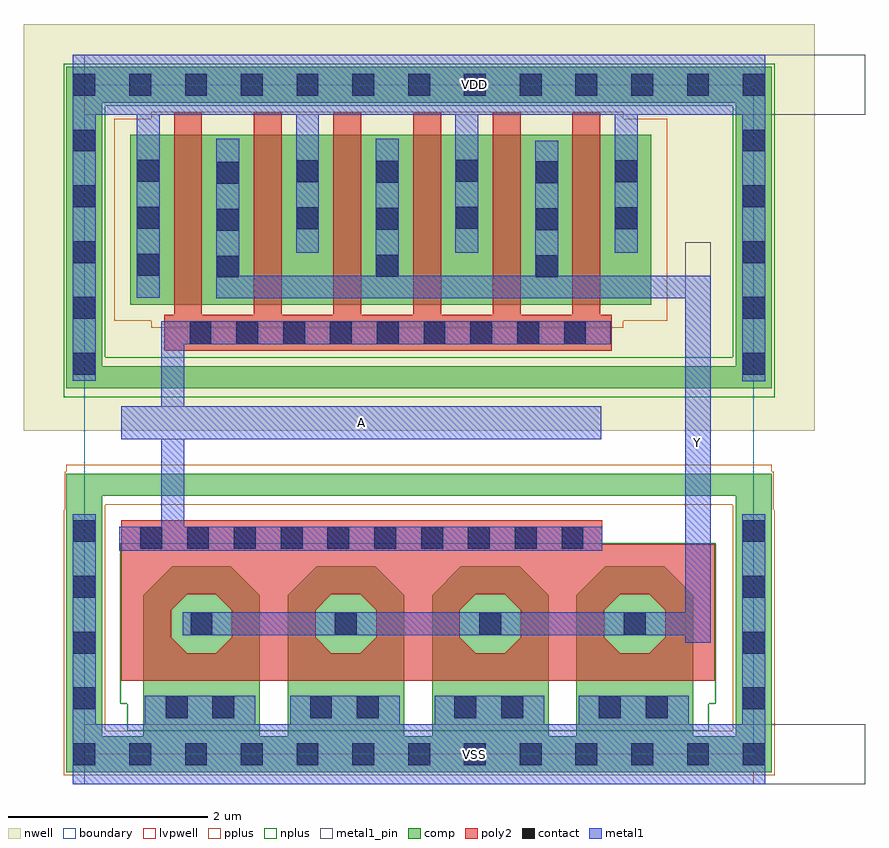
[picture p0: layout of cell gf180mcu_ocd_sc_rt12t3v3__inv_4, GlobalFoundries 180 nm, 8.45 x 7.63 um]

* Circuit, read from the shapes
.subckt gf180mcu_ocd_sc_rt12t3v3__inv_4 A VDD VSS Y
XM1 Y A VSS VSS nfet_03v3 w=1.785u l=0.5386u
XM2 Y A VSS VSS nfet_03v3 w=1.785u l=0.5361u
XM3 Y A VSS VSS nfet_03v3 w=1.785u l=0.5376u
XM4 Y A VSS VSS nfet_03v3 w=1.785u l=0.5326u
XM5 Y A VDD VDD pfet_03v3 w=1.71u l=0.28u m=6
.ends

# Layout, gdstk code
import gdstk
lib = gdstk.Library(unit=1e-6, precision=1e-09)
def R(c, l, rs):  # rectangles x0, y0, x1, y1
    for r in rs: c.add(gdstk.rectangle(r[:2], r[2:], *l))
def A(c, l, x, y, w, h, nx, ny, dx, dy):  # array of equal rectangles
    R(c, l, [(x+i*dx, y+j*dy, x+i*dx+w, y+j*dy+h) for i in range(nx) for j in range(ny)])
def P(c, l, *ps):  # polygons
    for p in ps: c.add(gdstk.Polygon(p, *l))
boundary = (0, 0)
nwell = (21, 0)
comp = (22, 0)
poly2 = (30, 0)
pplus = (31, 0)
nplus = (32, 0)
contact = (33, 0)
metal1 = (34, 0)
metal1_pin = (34, 10)
lvpwell = (204, 0)

gf180mcu_ocd_sc_rt12t3v3 = lib.new_cell('gf180mcu_ocd_sc_rt12t3v3__inv_4')
R(gf180mcu_ocd_sc_rt12t3v3, boundary, [(0,0,6.72,6.72)])
R(gf180mcu_ocd_sc_rt12t3v3, nwell, [(-0.61,3.245,7.33,7.33)])
A(gf180mcu_ocd_sc_rt12t3v3, comp, 0.59, 0.18, 1.17, 1.415, 4, 1, 1.45, 0)
A(gf180mcu_ocd_sc_rt12t3v3, comp, 0.88, 1.595, 0.59, 0.29, 4, 1, 1.45, 0)
R(gf180mcu_ocd_sc_rt12t3v3, comp, [(-0.18,-0.18,6.9,0.18), (-0.18,0.18,0.18,2.595), (6.54,0.18,6.9,2.595), (-0.18,2.595,6.9,2.815), (-0.18,3.675,6.9,3.895), (-0.18,3.895,0.18,6.54), (6.54,3.895,6.9,6.54), (0.46,4.51,5.69,6.22), (-0.18,6.54,6.9,6.9)])
P(gf180mcu_ocd_sc_rt12t3v3, comp, [(0.59,1.595),(0.88,1.595),(0.88,1.885)],
  [(1.47,1.885),(1.47,1.595),(1.76,1.595)],
  [(2.04,1.595),(2.33,1.595),(2.33,1.885)],
  [(2.92,1.885),(2.92,1.595),(3.21,1.595)],
  [(3.49,1.595),(3.78,1.595),(3.78,1.885)],
  [(4.37,1.885),(4.37,1.595),(4.66,1.595)],
  [(4.94,1.595),(5.23,1.595),(5.23,1.885)],
  [(5.82,1.885),(5.82,1.595),(6.11,1.595)])
A(gf180mcu_ocd_sc_rt12t3v3, poly2, 1.48, 1.015, 0.84, 0.58, 3, 1, 1.45, 0)
A(gf180mcu_ocd_sc_rt12t3v3, poly2, 1.33, 1.595, 1.14, 0.01, 3, 1, 1.45, 0)
A(gf180mcu_ocd_sc_rt12t3v3, poly2, 0.9, 4.41, 0.28, 2.03, 6, 1, 0.8, 0)
R(gf180mcu_ocd_sc_rt12t3v3, poly2, [(0.37,0.735,6.33,1.015), (0.37,1.015,0.87,1.595), (5.83,1.015,6.33,1.595), (0.37,1.595,1.02,1.605), (5.68,1.595,6.33,1.605), (0.37,1.605,6.33,2.105), (0.37,2.105,5.2,2.35), (0.8,4.05,5.295,4.41)])
P(gf180mcu_ocd_sc_rt12t3v3, poly2, [(1.02,1.595),(1.02,1.605),(1.03,1.605)],
  [(1.32,1.605),(1.33,1.605),(1.33,1.595)],
  [(2.47,1.595),(2.47,1.605),(2.48,1.605)],
  [(2.77,1.605),(2.78,1.605),(2.78,1.595)],
  [(3.92,1.595),(3.92,1.605),(3.93,1.605)],
  [(4.22,1.605),(4.23,1.605),(4.23,1.595)],
  [(5.37,1.595),(5.37,1.605),(5.38,1.605)],
  [(5.67,1.605),(5.68,1.605),(5.68,1.595)],
  [(0.87,1.445),(0.87,1.595),(1.02,1.595)],
  [(1.33,1.595),(1.48,1.595),(1.48,1.445)],
  [(0.87,1.175),(0.87,1.015),(1.03,1.015)],
  [(1.32,1.015),(1.48,1.015),(1.48,1.175)],
  [(2.32,1.445),(2.32,1.595),(2.47,1.595)],
  [(2.78,1.595),(2.93,1.595),(2.93,1.445)],
  [(2.32,1.175),(2.32,1.015),(2.48,1.015)],
  [(2.77,1.015),(2.93,1.015),(2.93,1.175)],
  [(3.77,1.445),(3.77,1.595),(3.92,1.595)],
  [(4.23,1.595),(4.38,1.595),(4.38,1.445)],
  [(3.77,1.175),(3.77,1.015),(3.93,1.015)],
  [(4.22,1.015),(4.38,1.015),(4.38,1.175)],
  [(5.22,1.445),(5.22,1.595),(5.37,1.595)],
  [(5.68,1.595),(5.83,1.595),(5.83,1.445)],
  [(5.22,1.175),(5.22,1.015),(5.38,1.015)],
  [(5.67,1.015),(5.83,1.015),(5.83,1.175)])
R(gf180mcu_ocd_sc_rt12t3v3, pplus, [(-0.21,-0.21,6.93,0.235), (-0.21,0.235,0.21,2.45), (6.51,0.235,6.93,2.45), (-0.2,2.45,0.21,2.505), (6.51,2.45,6.92,2.505), (-0.2,2.505,6.92,2.835), (-0.18,2.835,6.9,2.905), (0.67,4.28,5.41,4.35), (0.3,4.35,5.85,6.38), (0.67,6.38,5.41,6.45)])
R(gf180mcu_ocd_sc_rt12t3v3, nplus, [(0.43,0.235,6.27,0.505), (0.36,0.505,6.34,2.115), (-0.21,3.585,6.93,3.985), (-0.21,3.985,0.21,6.51), (6.51,3.985,6.93,6.51), (-0.21,6.51,6.93,6.93)])
A(gf180mcu_ocd_sc_rt12t3v3, contact, -0.11, -0.11, 0.22, 0.22, 13, 2, 0.56, 6.72)
A(gf180mcu_ocd_sc_rt12t3v3, contact, -0.11, 0.45, 0.22, 0.22, 1, 4, 0, 0.56)
A(gf180mcu_ocd_sc_rt12t3v3, contact, 6.61, 0.45, 0.22, 0.22, 1, 4, 0, 0.56)
A(gf180mcu_ocd_sc_rt12t3v3, contact, 1.065, 1.2, 0.22, 0.22, 4, 1, 1.45, 0)
A(gf180mcu_ocd_sc_rt12t3v3, contact, 0.56, 2.06, 0.22, 0.22, 10, 1, 0.47, 0)
A(gf180mcu_ocd_sc_rt12t3v3, contact, -0.11, 3.81, 0.22, 0.22, 1, 5, 0, 0.56)
A(gf180mcu_ocd_sc_rt12t3v3, contact, 6.61, 3.81, 0.22, 0.22, 1, 5, 0, 0.56)
A(gf180mcu_ocd_sc_rt12t3v3, contact, 1.055, 4.12, 0.22, 0.22, 9, 1, 0.47, 0)
A(gf180mcu_ocd_sc_rt12t3v3, contact, 1.33, 4.785, 0.22, 0.22, 1, 3, 0, 0.47)
A(gf180mcu_ocd_sc_rt12t3v3, contact, 4.53, 4.79, 0.22, 0.22, 1, 3, 0, 0.47)
A(gf180mcu_ocd_sc_rt12t3v3, contact, 2.93, 4.795, 0.22, 0.22, 1, 3, 0, 0.47)
A(gf180mcu_ocd_sc_rt12t3v3, contact, 0.53, 4.805, 0.22, 0.22, 1, 3, 0, 0.47)
R(gf180mcu_ocd_sc_rt12t3v3, contact, [(0.815,0.36,1.035,0.58), (1.285,0.36,1.505,0.58), (2.265,0.36,2.485,0.58), (2.735,0.36,2.955,0.58), (3.715,0.36,3.935,0.58), (4.185,0.36,4.405,0.58), (5.165,0.36,5.385,0.58), (5.635,0.36,5.855,0.58), (2.13,5.27,2.35,5.49), (5.33,5.27,5.55,5.49), (3.73,5.275,3.95,5.495), (2.13,5.74,2.35,5.96), (5.33,5.74,5.55,5.96), (3.73,5.745,3.95,5.965)])
A(gf180mcu_ocd_sc_rt12t3v3, metal1, 2.065, 0.3, 1.1, 0.285, 3, 1, 1.45, 0)
A(gf180mcu_ocd_sc_rt12t3v3, metal1, 2.125, 5.035, 0.23, 1.385, 3, 1, 1.6, 0)
R(gf180mcu_ocd_sc_rt12t3v3, metal1, [(-0.115,-0.3,6.835,0.3), (-0.115,0.3,0.115,2.41), (0.605,0.3,1.715,0.585), (6.605,0.3,6.835,2.41), (6.03,1.12,6.29,1.195), (0.985,1.195,6.29,1.425), (6.03,1.425,6.29,4.575), (0.35,2.04,5.2,2.285), (0.77,2.285,1,3.16), (0.37,3.16,5.19,3.49), (0.77,3.49,1,4.115), (6.605,3.745,6.835,6.42), (-0.115,3.75,0.115,6.42), (0.77,4.115,5.285,4.345), (1.325,4.575,6.29,4.805), (0.525,4.58,0.755,6.42), (1.325,4.805,1.555,6.18), (2.925,4.805,3.155,6.18), (4.525,4.805,4.755,6.16), (-0.115,6.42,6.835,7.02)])
R(gf180mcu_ocd_sc_rt12t3v3, metal1_pin, [(0,-0.3,7.84,0.3), (6.03,1.12,6.29,5.14), (0.37,3.16,5.19,3.49), (0,6.42,7.84,7.02)])
R(gf180mcu_ocd_sc_rt12t3v3, lvpwell, [(0,-0.3,6.72,-0.18), (-0.18,-0.18,6.9,2.815)])
gf180mcu_ocd_sc_rt12t3v3.add(gdstk.Label('A', (2.78,3.325), layer=34, texttype=10))
gf180mcu_ocd_sc_rt12t3v3.add(gdstk.Label('Y', (6.16,3.13), layer=34, texttype=10))
gf180mcu_ocd_sc_rt12t3v3.add(gdstk.Label('VDD', (3.92,6.72), layer=34, texttype=10))
gf180mcu_ocd_sc_rt12t3v3.add(gdstk.Label('VSS', (3.92,0), layer=34, texttype=10))

lib.write_gds('gf180mcu_ocd_sc_rt12t3v3__inv_4.gds')
